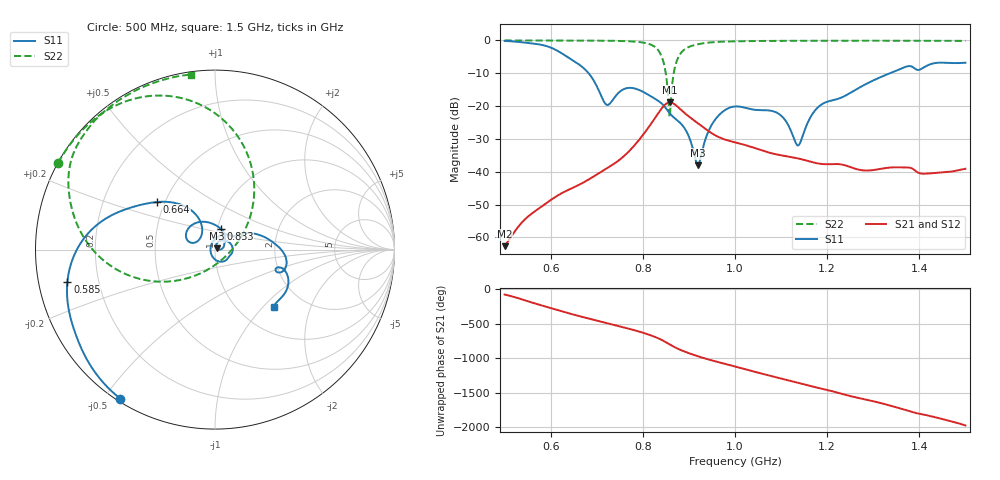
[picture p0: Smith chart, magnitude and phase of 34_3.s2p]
! TOUCHSTONE file generated by CST MICROWAVE STUDIO
! Date and time: Fri Oct 30 08:07:15 2020
! Project name: Scenario_1_Circular_Tissue_out_of_Line.cst
! Parameters = {dy1=226.253; L_HA=400; MT=2.54; Rad_Dielectric=30; Rad_Lower=7.3; Rad_Upper=30; a_HA=580; a_WG=246; b_HA=500; b_WG=121; c_HA=0; c_WG=187; d_feed=85; dx1=520; h_feed=15; h_lower=18; h_upper=40}
! Header version: 2018
! Port assignment regex: !\s*Touchstone port\s*([0-9]+)\s*=\s*(CST MWS port|CST DS port)\s*([0-9]+|Zmin|Zmax)\s*\(\"(.*)\"\)(\s*mode\s*([0-9]+))?.*
! Touchstone port assignment:
! Touchstone port 1 = CST MWS port 1 ("")
! Touchstone port 2 = CST MWS port 2 ("")
# GHz S DB R 50
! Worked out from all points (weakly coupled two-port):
!   1001 points, 500 MHz to 1.5 GHz, reference 50 ohm
!   highest |S21| = -18.87 dB at 859 MHz (marker M1); lowest = -62.7 dB at 500 MHz (marker M2)
!   lowest |S11| = -38.0 dB at 919 MHz (marker M3), VSWR 1.03, Z = 51 + j0.716 ohm
!   |S11| at or under -10 dB: 682.3 MHz to 1.336 GHz (653.9 MHz wide, 64.8 % of centre)
!   |S22| runs from -23.4 to 0.0 dB; largest |S21 - S12| = 4.5e-05
!   S11 on the Smith chart (normalised r, x): 500 MHz: 0.01, -0.55; 585 MHz: 0.09, -0.11; 664 MHz: 0.45, +0.29; 833 MHz: 1.03, +0.25; 1.5 GHz: 1.42, -1.15
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0.5  -0.14 -122.5  -62.68 -75.2  -62.68 -75.2  -0.01 151.1
0.585  -1.50 -167.7  -50.13 118.0  -50.13 118.0  -0.02 145.2
0.622  -3.75 165.8  -46.69 45.5  -46.69 45.5  -0.02 142.4
0.664  -7.59 140.6  -43.81 -31.9  -43.81 -31.9  -0.04 138.7
0.667  -7.91 138.5  -43.59 -37.1  -43.59 -37.1  -0.04 138.4
0.721  -19.58 139.8  -39.06 -130.6  -39.06 -130.6  -0.09 132.2
0.77  -14.45 142.3  -33.76 147.5  -33.76 147.5  -0.26 123.2
0.805  -16.00 105.4  -27.91 80.8  -27.91 80.8  -0.76 110.4
0.833  -18.36 75.0  -22.27 10.9  -22.27 10.9  -2.92 85.4
0.834  -18.46 73.8  -22.06 7.9  -22.06 7.9  -3.10 83.9
0.848  -20.28 55.0  -19.58 -39.6  -19.58 -39.6  -8.58 54.2
0.859  -22.31 44.0  -18.87 -82.3  -18.87 -82.3  -22.43 -76.9
0.869  -23.66 36.4  -19.46 -119.4  -19.46 -119.4  -8.56 -151.6
0.878  -24.71 27.5  -20.52 -148.5  -20.52 -148.5  -4.83 -169.8
0.919  -38.03 34.0  -25.20 109.9  -25.20 109.9  -1.17 158.6
0.954  -24.70 58.0  -28.65 40.8  -28.65 40.8  -0.52 148.4
1  -20.11 4.4  -31.06 -39.4  -31.06 -39.4  -0.27 140.3
1.093  -22.19 -60.3  -34.80 157.9  -34.80 157.9  -0.13 130.4
1.136  -31.99 -176.3  -35.91 83.8  -35.91 83.8  -0.11 126.7
1.167  -22.64 77.1  -37.07 31.4  -37.07 31.4  -0.10 124.2
1.334  -10.12 9.5  -38.76 117.6  -38.76 117.6  -0.09 111.5
1.5  -6.79 -44.4  -39.09 -175.7  -39.09 -175.7  -0.14 98.0
